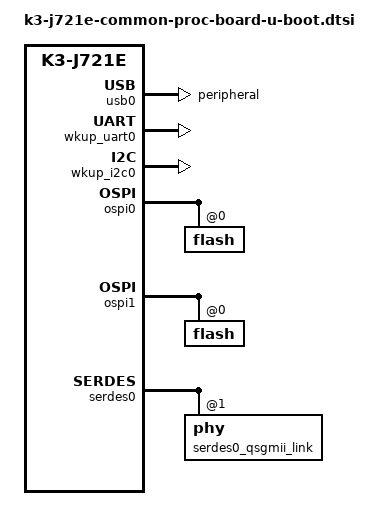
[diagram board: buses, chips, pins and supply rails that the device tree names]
// SPDX-License-Identifier: GPL-2.0
/*
 * Copyright (C) 2018 Texas Instruments Incorporated - https://www.ti.com/
 */

#include "k3-j721e-binman.dtsi"

&cbass_main {
	bootph-all;
};

&main_navss {
	bootph-all;
};

&cbass_mcu_wakeup {
	bootph-all;
};

&chipid {
	bootph-all;
};

&mcu_navss {
	bootph-all;
};

&mcu_ringacc {
	bootph-all;
};

&mcu_udmap {
	bootph-all;
};

&secure_proxy_main {
	bootph-all;
};

&dmsc {
	bootph-all;
};

&k3_pds {
	bootph-all;
};

&k3_clks {
	bootph-all;
};

&k3_reset {
	bootph-all;
};

&wkup_pmx0 {
	bootph-all;
};

&main_pmx0 {
	bootph-all;
};

&main_uart0 {
	bootph-all;
};

&mcu_uart0 {
	bootph-all;
};

&main_sdhci0 {
	bootph-all;
};

&main_sdhci1 {
	bootph-all;
};

&main_uart0_pins_default {
	bootph-all;
};

&serdes_ln_ctrl {
	idle-states = <J721E_SERDES0_LANE0_PCIE0_LANE0>, <J721E_SERDES0_LANE1_QSGMII_LANE2>,
		      <J721E_SERDES1_LANE0_PCIE1_LANE0>, <J721E_SERDES1_LANE1_PCIE1_LANE1>,
		      <J721E_SERDES2_LANE0_PCIE2_LANE0>, <J721E_SERDES2_LANE1_PCIE2_LANE1>,
		      <J721E_SERDES3_LANE0_USB3_0_SWAP>, <J721E_SERDES3_LANE1_USB3_0>,
		      <J721E_SERDES4_LANE0_EDP_LANE0>, <J721E_SERDES4_LANE1_EDP_LANE1>,
		      <J721E_SERDES4_LANE2_EDP_LANE2>, <J721E_SERDES4_LANE3_EDP_LANE3>;
	bootph-all;
};

&usb_serdes_mux {
	bootph-all;
};

&main_usbss0_pins_default {
	bootph-all;
};

&usbss0 {
	bootph-all;
};

&usb0 {
	dr_mode = "peripheral";
	bootph-all;
};

&main_mmc1_pins_default {
	bootph-all;
};

&wkup_i2c0_pins_default {
	bootph-all;
};

&wkup_uart0 {
	bootph-all;
	status = "okay";
};

&wkup_i2c0 {
	bootph-all;
	status = "okay";
};

&main_i2c0 {
	bootph-all;
};

&main_i2c0_pins_default {
	bootph-all;
};

&main_esm {
	bootph-all;
};

&exp2 {
	bootph-all;
};

&mcu_fss0_ospi0_pins_default {
	bootph-all;
};

&fss {
	bootph-all;
};

&wkup_gpio0 {
	bootph-all;
};

&ospi0 {
	bootph-all;

	flash@0 {
		bootph-all;
	};
};

&ospi1 {
	bootph-all;

	flash@0 {
		bootph-all;
	};
};

&mcu_fss0_hpb0_pins_default {
	bootph-all;
};

&wkup_gpio_pins_default {
	bootph-all;
};

&mcu_fss0_ospi1_pins_default {
	bootph-all;
};

&wiz0_pll1_refclk {
	assigned-clocks = <&wiz0_pll1_refclk>;
	assigned-clock-parents = <&cmn_refclk1>;
	bootph-all;
};

&wiz0_refclk_dig {
	assigned-clocks = <&wiz0_refclk_dig>;
	assigned-clock-parents = <&cmn_refclk1>;
	bootph-all;
};

&serdes0 {
	/*
	 * Since the PLL_CMNLC and PLL_CMNLC1 clocks are modelled as child
	 * clocks of SERDES0 in the Sierra SERDES driver, move them to the
	 * child nodes serdes0_pcie_link and serdes0_qsgmii_link.
	 */
	/delete-property/ assigned-clocks;
	/delete-property/ assigned-clock-parents;

	serdes0_qsgmii_link: phy@1 {
		reg = <1>;
		cdns,num-lanes = <1>;
		#phy-cells = <0>;
		cdns,phy-type = <PHY_TYPE_QSGMII>;
		resets = <&serdes_wiz0 2>;
		assigned-clocks = <&serdes0 CDNS_SIERRA_PLL_CMNLC1>;
		assigned-clock-parents = <&wiz0_pll1_refclk>;
		bootph-all;
	};
};

&serdes0_pcie_link {
	assigned-clocks = <&serdes0 CDNS_SIERRA_PLL_CMNLC>;
	assigned-clock-parents = <&wiz0_pll1_refclk>;
	bootph-all;
};

/* Required for USB DFU Boot */
&serdes3_usb_link {
	bootph-all;
};
